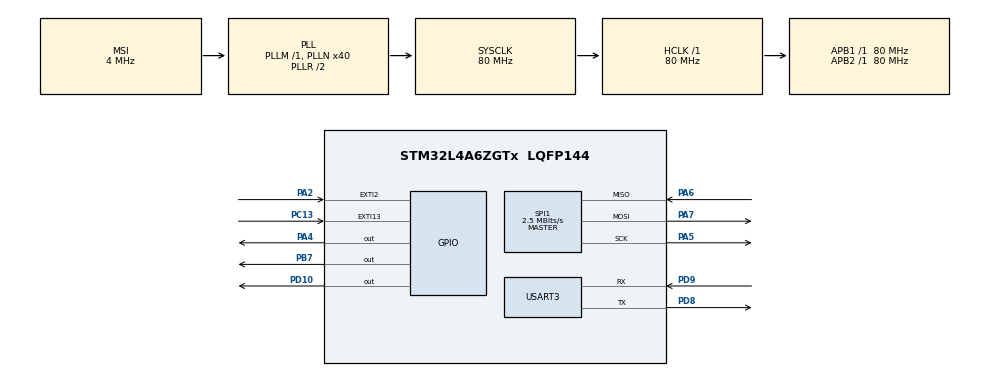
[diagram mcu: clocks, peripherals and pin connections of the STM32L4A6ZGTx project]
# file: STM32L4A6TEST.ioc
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Mcu.Family=STM32L4
Mcu.Name=STM32L4A6ZGTx
Mcu.Package=LQFP144
NVIC.EXTI15_10_IRQn=true\:1\:0\:true\:false\:true\:true\:true
NVIC.EXTI2_IRQn=true\:0\:0\:true\:false\:true\:true\:true
NVIC.PriorityGroup=NVIC_PRIORITYGROUP_4
NVIC.USART3_IRQn=true\:0\:0\:true\:false\:true\:true\:true
PA2.Signal=GPXTI2
PA4.Signal=GPIO_Output
PA5.GPIO_PuPd=GPIO_PULLUP
PA5.Mode=Full_Duplex_Master
PA5.Signal=SPI1_SCK
PA6.GPIO_PuPd=GPIO_PULLUP
PA6.Mode=Full_Duplex_Master
PA6.Signal=SPI1_MISO
PA7.GPIO_PuPd=GPIO_PULLUP
PA7.Mode=Full_Duplex_Master
PA7.Signal=SPI1_MOSI
PB7.Signal=GPIO_Output
PC13.Signal=GPXTI13
PD10.GPIO_PuPd=GPIO_PULLUP
PD10.PinState=GPIO_PIN_SET
PD10.Signal=GPIO_Output
PD8.GPIO_PuPd=GPIO_PULLUP
PD8.Mode=Asynchronous
PD8.Signal=USART3_TX
PD9.GPIO_PuPd=GPIO_PULLUP
PD9.Mode=Asynchronous
PD9.Signal=USART3_RX
ProjectManager.HeapSize=0x200
ProjectManager.StackSize=0x400
ProjectManager.TargetToolchain=STM32CubeIDE
RCC.ADCFreq_Value=16000000
RCC.AHBFreq_Value=80000000
RCC.APB1Freq_Value=80000000
RCC.APB1TimFreq_Value=80000000
RCC.APB2Freq_Value=80000000
RCC.APB2TimFreq_Value=80000000
RCC.CortexFreq_Value=80000000
RCC.HCLKFreq_Value=80000000
RCC.HSE_VALUE=8000000
RCC.HSI48_VALUE=48000000
RCC.HSI_VALUE=16000000
RCC.LSE_VALUE=32768
RCC.MSI_VALUE=4000000
RCC.PLLN=40
RCC.SYSCLKFreq_VALUE=80000000
RCC.SYSCLKSource=RCC_SYSCLKSOURCE_PLLCLK
RCC.USBFreq_Value=16000000
RCC.VCOOutputFreq_Value=160000000
SPI1.BaudRatePrescaler=SPI_BAUDRATEPRESCALER_32
SPI1.CLKPhase=SPI_PHASE_2EDGE
SPI1.CLKPolarity=SPI_POLARITY_HIGH
SPI1.CalculateBaudRate=2.5 MBits/s
SPI1.DataSize=SPI_DATASIZE_8BIT
SPI1.Direction=SPI_DIRECTION_2LINES
SPI1.Mode=SPI_MODE_MASTER
SPI1.VirtualType=VM_MASTER
USART3.VirtualMode-Asynchronous=VM_ASYNC
VP_RTC_VS_RTC_Activate.Mode=RTC_Enabled
board=custom

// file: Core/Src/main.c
/* USER CODE BEGIN Header */
/**
  ******************************************************************************
  * @file           : main.c
  * @brief          : Main program body
  ******************************************************************************
  * @attention
  *
  * <h2><center>&copy; Copyright (c) 2020 STMicroelectronics.
  * All rights reserved.</center></h2>
  *
  * This software component is licensed by ST under BSD 3-Clause license,
  * the "License"; You may not use this file except in compliance with the
  * License. You may obtain a copy of the License at:
  *                        opensource.org/licenses/BSD-3-Clause
  *
  ******************************************************************************
  */
/* USER CODE END Header */

#include "main.h"

RTC_HandleTypeDef hrtc;

SPI_HandleTypeDef hspi1;

UART_HandleTypeDef huart3;

/* USER CODE BEGIN PV */
//TODO--Wayne20200924
PWRST_t PWRST;
USART_LoRa USARTLoRa;

uint8_t dataReady = false;
int16_t sampleCount = 0;

uint8_t data[6]={0,0,0,0,0,0};
int16_t sampleIndex = 0;

//TODO:for signal buffer

fftInstance XfftInstance;
fftInstance YfftInstance;
fftInstance ZfftInstance;

/* USER CODE END PV */

void SystemClock_Config(void);
static void MX_GPIO_Init(void);
static void MX_RTC_Init(void);
static void MX_SPI1_Init(void);
static void MX_USART3_UART_Init(void);
/* USER CODE BEGIN PFP */
//TODO--wayne

/* USER CODE END PFP */

/* USER CODE BEGIN 0 */
//TODO--wayne
/*void ADXL345_Init();

void AcquireData();
void FeatureExtraction();*/

/* USER CODE END 0 */

int main(void)
{

  /* MCU Configuration--------------------------------------------------------*/

  /* Reset of all peripherals, Initializes the Flash interface and the Systick. */
   HAL_Init();

  /* Configure the system clock */
  SystemClock_Config();

  /* Initialize all configured peripherals */
  MX_GPIO_Init();
  MX_RTC_Init();
  MX_SPI1_Init();
  MX_USART3_UART_Init();
  /* USER CODE BEGIN 2 */
  //TODO--Wayne20200925
  RUN_PWR_Mode_Init(&hrtc);
  USARTLoRa.Status=WakeUp;
  while(HAL_UART_Receive_IT(&huart3,&USARTLoRa.Rbuffer,1)!=HAL_OK);
  //delay_init(168);
  delay_init(80);//STM32L4A6 HCLK=80MHz
  ADXL345_Init();

  /* USER CODE END 2 */

  /* Infinite loop */
  /* USER CODE BEGIN WHILE */
  while (1)
  {

	//TODO:ADXL345 Wake-up
	//ADXL_Measure(ON);
	//delay_s(5);
	//TODO:ADXL345 Measure
    while(sampleIndex < dataLength/2)
    {
    	ADXL_IntProto();
    	readRegister(DATA0,data,6);
    	if(dataReady == true)
    	    {
    	    	 AcquireData(&data);

    			sampleIndex++;
    			dataReady = false;
    	    }
    }
    FeatureExtraction();
    sampleIndex = 0;

    //TODO:ADXL345 Standby Entry
    //ADXL_Standby(ON);

    //TODO:Lora send data
    LoRa_USART(&huart3);
    //delay_s(5);
    //TODO:MCU Standby Entry
    //EnterStandbyPWR_Mode(&hrtc);

  }
  /* USER CODE END 3 */
}

void SystemClock_Config(void)
{
  RCC_OscInitTypeDef RCC_OscInitStruct = {0};
  RCC_ClkInitTypeDef RCC_ClkInitStruct = {0};
  RCC_PeriphCLKInitTypeDef PeriphClkInit = {0};

  /** Initializes the CPU, AHB and APB busses clocks
  */
  RCC_OscInitStruct.OscillatorType = RCC_OSCILLATORTYPE_LSI|RCC_OSCILLATORTYPE_MSI;
  RCC_OscInitStruct.LSIState = RCC_LSI_ON;
  RCC_OscInitStruct.MSIState = RCC_MSI_ON;
  RCC_OscInitStruct.MSICalibrationValue = 0;
  RCC_OscInitStruct.MSIClockRange = RCC_MSIRANGE_6;
  RCC_OscInitStruct.PLL.PLLState = RCC_PLL_ON;
  RCC_OscInitStruct.PLL.PLLSource = RCC_PLLSOURCE_MSI;
  RCC_OscInitStruct.PLL.PLLM = 1;
  RCC_OscInitStruct.PLL.PLLN = 40;
  RCC_OscInitStruct.PLL.PLLP = RCC_PLLP_DIV2;
  RCC_OscInitStruct.PLL.PLLQ = RCC_PLLQ_DIV2;
  RCC_OscInitStruct.PLL.PLLR = RCC_PLLR_DIV2;
  if (HAL_RCC_OscConfig(&RCC_OscInitStruct) != HAL_OK)
  {
    Error_Handler();
  }
  /** Initializes the CPU, AHB and APB busses clocks
  */
  RCC_ClkInitStruct.ClockType = RCC_CLOCKTYPE_HCLK|RCC_CLOCKTYPE_SYSCLK
                              |RCC_CLOCKTYPE_PCLK1|RCC_CLOCKTYPE_PCLK2;
  RCC_ClkInitStruct.SYSCLKSource = RCC_SYSCLKSOURCE_PLLCLK;
  RCC_ClkInitStruct.AHBCLKDivider = RCC_SYSCLK_DIV1;
  RCC_ClkInitStruct.APB1CLKDivider = RCC_HCLK_DIV1;
  RCC_ClkInitStruct.APB2CLKDivider = RCC_HCLK_DIV1;

  if (HAL_RCC_ClockConfig(&RCC_ClkInitStruct, FLASH_LATENCY_4) != HAL_OK)
  {
    Error_Handler();
  }
  PeriphClkInit.PeriphClockSelection = RCC_PERIPHCLK_RTC|RCC_PERIPHCLK_USART3;
  PeriphClkInit.Usart3ClockSelection = RCC_USART3CLKSOURCE_PCLK1;
  PeriphClkInit.RTCClockSelection = RCC_RTCCLKSOURCE_LSI;
  if (HAL_RCCEx_PeriphCLKConfig(&PeriphClkInit) != HAL_OK)
  {
    Error_Handler();
  }
  /** Configure the main internal regulator output voltage
  */
  if (HAL_PWREx_ControlVoltageScaling(PWR_REGULATOR_VOLTAGE_SCALE1) != HAL_OK)
  {
    Error_Handler();
  }
}

static void MX_RTC_Init(void)
{

  /** Initialize RTC Only
  */
  hrtc.Instance = RTC;
  hrtc.Init.HourFormat = RTC_HOURFORMAT_24;
  hrtc.Init.AsynchPrediv = 127;
  hrtc.Init.SynchPrediv = 255;
  hrtc.Init.OutPut = RTC_OUTPUT_DISABLE;
  hrtc.Init.OutPutRemap = RTC_OUTPUT_REMAP_NONE;
  hrtc.Init.OutPutPolarity = RTC_OUTPUT_POLARITY_HIGH;
  hrtc.Init.OutPutType = RTC_OUTPUT_TYPE_OPENDRAIN;
  if (HAL_RTC_Init(&hrtc) != HAL_OK)
  {
    Error_Handler();
  }

}

static void MX_SPI1_Init(void)
{

  /* SPI1 parameter configuration*/
  hspi1.Instance = SPI1;
  hspi1.Init.Mode = SPI_MODE_MASTER;
  hspi1.Init.Direction = SPI_DIRECTION_2LINES;
  hspi1.Init.DataSize = SPI_DATASIZE_8BIT;
  hspi1.Init.CLKPolarity = SPI_POLARITY_HIGH;
  hspi1.Init.CLKPhase = SPI_PHASE_2EDGE;
  hspi1.Init.NSS = SPI_NSS_SOFT;
  hspi1.Init.BaudRatePrescaler = SPI_BAUDRATEPRESCALER_32;
  hspi1.Init.FirstBit = SPI_FIRSTBIT_MSB;
  hspi1.Init.TIMode = SPI_TIMODE_DISABLE;
  hspi1.Init.CRCCalculation = SPI_CRCCALCULATION_DISABLE;
  hspi1.Init.CRCPolynomial = 7;
  hspi1.Init.CRCLength = SPI_CRC_LENGTH_DATASIZE;
  hspi1.Init.NSSPMode = SPI_NSS_PULSE_DISABLE;
  if (HAL_SPI_Init(&hspi1) != HAL_OK)
  {
    Error_Handler();
  }

}

static void MX_USART3_UART_Init(void)
{

  huart3.Instance = USART3;
  huart3.Init.BaudRate = 115200;
  huart3.Init.WordLength = UART_WORDLENGTH_8B;
  huart3.Init.StopBits = UART_STOPBITS_1;
  huart3.Init.Parity = UART_PARITY_NONE;
  huart3.Init.Mode = UART_MODE_TX_RX;
  huart3.Init.HwFlowCtl = UART_HWCONTROL_NONE;
  huart3.Init.OverSampling = UART_OVERSAMPLING_16;
  huart3.Init.OneBitSampling = UART_ONE_BIT_SAMPLE_DISABLE;
  huart3.AdvancedInit.AdvFeatureInit = UART_ADVFEATURE_NO_INIT;
  if (HAL_UART_Init(&huart3) != HAL_OK)
  {
    Error_Handler();
  }

}

static void MX_GPIO_Init(void)
{
  GPIO_InitTypeDef GPIO_InitStruct = {0};

  /* GPIO Ports Clock Enable */
  __HAL_RCC_GPIOC_CLK_ENABLE();
  __HAL_RCC_GPIOA_CLK_ENABLE();
  __HAL_RCC_GPIOD_CLK_ENABLE();
  __HAL_RCC_GPIOB_CLK_ENABLE();

  /*Configure GPIO pin Output Level */
  HAL_GPIO_WritePin(GPIOA, GPIO_PIN_4, GPIO_PIN_RESET);

  /*Configure GPIO pin Output Level */
  HAL_GPIO_WritePin(GPIOD, GPIO_PIN_10, GPIO_PIN_SET);

  /*Configure GPIO pin Output Level */
  HAL_GPIO_WritePin(GPIOB, GPIO_PIN_7, GPIO_PIN_RESET);

  /*Configure GPIO pin : PC13 */
  GPIO_InitStruct.Pin = GPIO_PIN_13;
  GPIO_InitStruct.Mode = GPIO_MODE_IT_RISING;
  GPIO_InitStruct.Pull = GPIO_NOPULL;
  HAL_GPIO_Init(GPIOC, &GPIO_InitStruct);

  /*Configure GPIO pin : PA2 */
  GPIO_InitStruct.Pin = GPIO_PIN_2;
  GPIO_InitStruct.Mode = GPIO_MODE_IT_RISING;
  GPIO_InitStruct.Pull = GPIO_NOPULL;
  HAL_GPIO_Init(GPIOA, &GPIO_InitStruct);

  /*Configure GPIO pin : PA4 */
  GPIO_InitStruct.Pin = GPIO_PIN_4;
  GPIO_InitStruct.Mode = GPIO_MODE_OUTPUT_PP;
  GPIO_InitStruct.Pull = GPIO_NOPULL;
  GPIO_InitStruct.Speed = GPIO_SPEED_FREQ_LOW;
  HAL_GPIO_Init(GPIOA, &GPIO_InitStruct);

  /*Configure GPIO pin : PD10 */
  GPIO_InitStruct.Pin = GPIO_PIN_10;
  GPIO_InitStruct.Mode = GPIO_MODE_OUTPUT_PP;
  GPIO_InitStruct.Pull = GPIO_PULLUP;
  GPIO_InitStruct.Speed = GPIO_SPEED_FREQ_LOW;
  HAL_GPIO_Init(GPIOD, &GPIO_InitStruct);

  /*Configure GPIO pin : PB7 */
  GPIO_InitStruct.Pin = GPIO_PIN_7;
  GPIO_InitStruct.Mode = GPIO_MODE_OUTPUT_PP;
  GPIO_InitStruct.Pull = GPIO_NOPULL;
  GPIO_InitStruct.Speed = GPIO_SPEED_FREQ_LOW;
  HAL_GPIO_Init(GPIOB, &GPIO_InitStruct);

  /* EXTI interrupt init*/
  HAL_NVIC_SetPriority(EXTI2_IRQn, 0, 0);
  HAL_NVIC_EnableIRQ(EXTI2_IRQn);

  HAL_NVIC_SetPriority(EXTI15_10_IRQn, 1, 0);
  HAL_NVIC_EnableIRQ(EXTI15_10_IRQn);

}

/* USER CODE BEGIN 4 */
//TODO-Wayne0200924
void HAL_GPIO_EXTI_Callback(uint16_t GPIO_Pin)
{
  if(GPIO_Pin == GPIO_PIN_13)//trigger start pin PC13
  {
	  delay_ms(10);
	  if(HAL_GPIO_ReadPin(GPIOC, GPIO_PIN_13)==GPIO_PIN_SET)
	  {
		  if(!PWRST.WLUP_BTstatus )
			  PWRST.WLUP_BTstatus = 1;
	  }
  }
  if(GPIO_Pin == GPIO_PIN_2)//SPI CS
	{
	  if(HAL_GPIO_ReadPin(GPIOA, GPIO_PIN_2)==GPIO_PIN_SET)
		  dataReady = true;
	  sampleCount++;
	  if(sampleCount > 2048)
	  {
		  sampleCount = 0;
	  }

	}
}

void HAL_UART_RxCpltCallback(UART_HandleTypeDef *huart)
{
  /* Prevent unused argument(s) compilation warning */
  UNUSED(huart3);

  /* NOTE : This function should not be modified, when the callback is needed,
            the HAL_UART_RxCpltCallback can be implemented in the user file
   */

  USARTLoRa.RevStrCount++; //all string receive count
  if(USARTLoRa.Rbuffer==0x0A)//when receive 0x0a("\n" Line feeds string),it is a effective command
  {
	  USARTLoRa.RevStrEndCount++;//0x0a("\n" Line feeds string) count
	  if( USARTLoRa.RevStrEndCount==1	&&	USARTLoRa.RevStrCount > 1)
		  USARTLoRa.ResetRevflag = 1;
  }

  if(!USARTLoRa.ResetRevflag)//if LoRa not reset
  {
  	  USARTLoRa.RevData[USARTLoRa.RxCount++]= USARTLoRa.Rbuffer;
  	  if(USARTLoRa.RevStrEndCount == 2)
  	  {
  		  USARTLoRa.Revflag = 1;
  		  USARTLoRa.RxCount= 0;
  		  USARTLoRa.RevStrEndCount = 0;
  		  USARTLoRa.RevStrCount = 0;
  	  }
    }
    else
    {
    	if(USARTLoRa.RevStrEndCount > 6)
    	{
    		USARTLoRa.RevData[USARTLoRa.RxCount++]= USARTLoRa.Rbuffer;
    		if(USARTLoRa.RevStrEndCount == 9)
    		{
    			USARTLoRa.Revflag = 1;
    			USARTLoRa.RxCount= 0;
    			USARTLoRa.RevStrEndCount = 0;
    			USARTLoRa.RevStrCount = 0;
    		}
    	}

    }

  if(USARTLoRa.RxCount>=64)//if don't receive "\n" Line feeds string full over to 64 byte, clear data
  {
	  USARTLoRa.RxCount=0;
  	  memset( USARTLoRa.RevData, 0, strlen((const char*)USARTLoRa.RevData) ); //clear Receive data
  }
  while(HAL_UART_Receive_IT(&huart3,&USARTLoRa.Rbuffer,1)!=HAL_OK);
}

/* USER CODE END 4 */

void Error_Handler(void)
{
}

/************************ (C) COPYRIGHT STMicroelectronics *****END OF FILE****/
